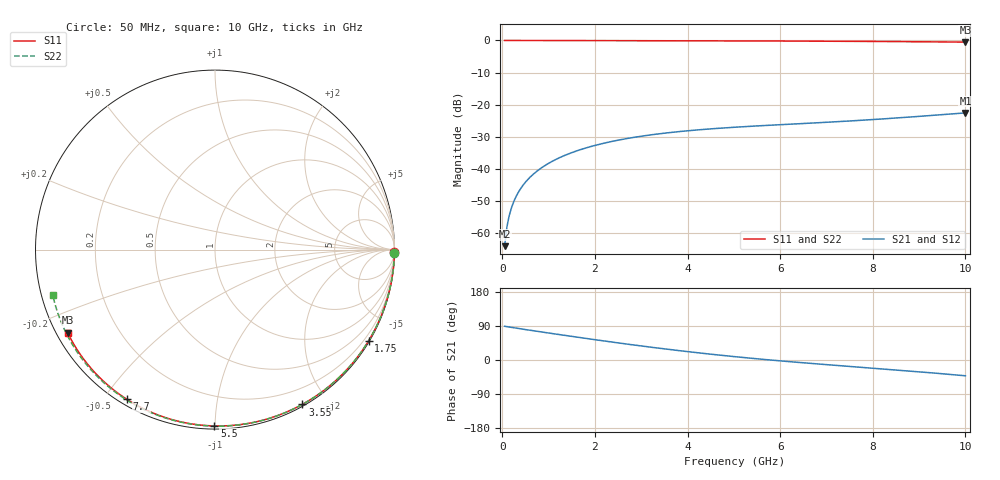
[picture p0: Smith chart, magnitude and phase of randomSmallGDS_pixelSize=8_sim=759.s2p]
! freq	dB(S11)	phase(S11)	dB(S12)	phase(S12)
!  dB(S21)	phase(S21)	dB(S22)	phase(S22)
!S-par simulation data
#  GHz  S  DB  R 50
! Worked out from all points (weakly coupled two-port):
!   200 points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, 50 MHz to 10 GHz, reference 50 ohm
!   highest |S21| = -22.54 dB at 10 GHz (marker M1); lowest = -64.0 dB at 50 MHz (marker M2)
!   lowest |S11| = -0.5 dB at 10 GHz (marker M3), VSWR 33.87, Z = 1.58 - j13.1 ohm
!   |S11| at or under -10 dB: nowhere
!   |S22| runs from -0.5 to 0.0 dB; largest |S21 - S12| = 0
!   S11 on the Smith chart (normalised r, x): 50 MHz: open; 1.75 GHz: 0.03, -3.64; 3.55 GHz: 0.02, -1.71; 5.5 GHz: 0.02, -1.00; 7.7 GHz: 0.02, -0.57; 10 GHz: 0.03, -0.26
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0.05  -0.00 -0.9  -64.00 89.0  -64.00 89.0  -0.00 -1.0
0.1  -0.00 -1.8  -57.99 88.0  -57.99 88.0  -0.00 -2.0
0.15  -0.00 -2.7  -54.47 87.0  -54.47 87.0  -0.00 -2.9
0.2  -0.00 -3.6  -51.98 86.0  -51.98 86.0  -0.00 -3.9
0.25  -0.00 -4.5  -50.05 85.1  -50.05 85.1  -0.00 -4.9
0.35  -0.00 -6.3  -47.15 83.1  -47.15 83.1  -0.01 -6.8
0.5  -0.01 -8.9  -44.10 80.3  -44.10 80.3  -0.01 -9.8
0.7  -0.01 -12.5  -41.23 76.6  -41.23 76.6  -0.02 -13.6
1  -0.02 -17.7  -38.23 71.2  -38.23 71.2  -0.02 -19.4
1.35  -0.03 -23.8  -35.75 64.9  -35.75 64.9  -0.03 -26.0
1.75  -0.04 -30.7  -33.68 57.9  -33.68 57.9  -0.04 -33.6
2.6  -0.06 -45.1  -30.75 43.5  -30.75 43.5  -0.07 -49.2
3.4  -0.08 -58.2  -29.02 30.9  -29.02 30.9  -0.09 -63.4
3.55  -0.09 -60.6  -28.76 28.6  -28.76 28.6  -0.09 -65.9
4.3  -0.11 -72.3  -27.73 18.0  -27.73 18.0  -0.12 -78.6
5.05  -0.13 -83.6  -26.97 8.4  -26.97 8.4  -0.15 -90.8
5.5  -0.15 -90.2  -26.59 3.2  -26.59 3.2  -0.17 -97.9
6.7  -0.21 -107.0  -25.69 -9.3  -25.69 -9.3  -0.23 -116.1
7.7  -0.28 -120.5  -24.88 -18.7  -24.88 -18.7  -0.30 -130.8
8.35  -0.34 -129.1  -24.28 -24.7  -24.28 -24.7  -0.36 -140.2
9.2  -0.42 -140.2  -23.41 -33.1  -23.41 -33.1  -0.45 -152.5
10  -0.51 -150.6  -22.54 -41.7  -22.54 -41.7  -0.55 -164.3
